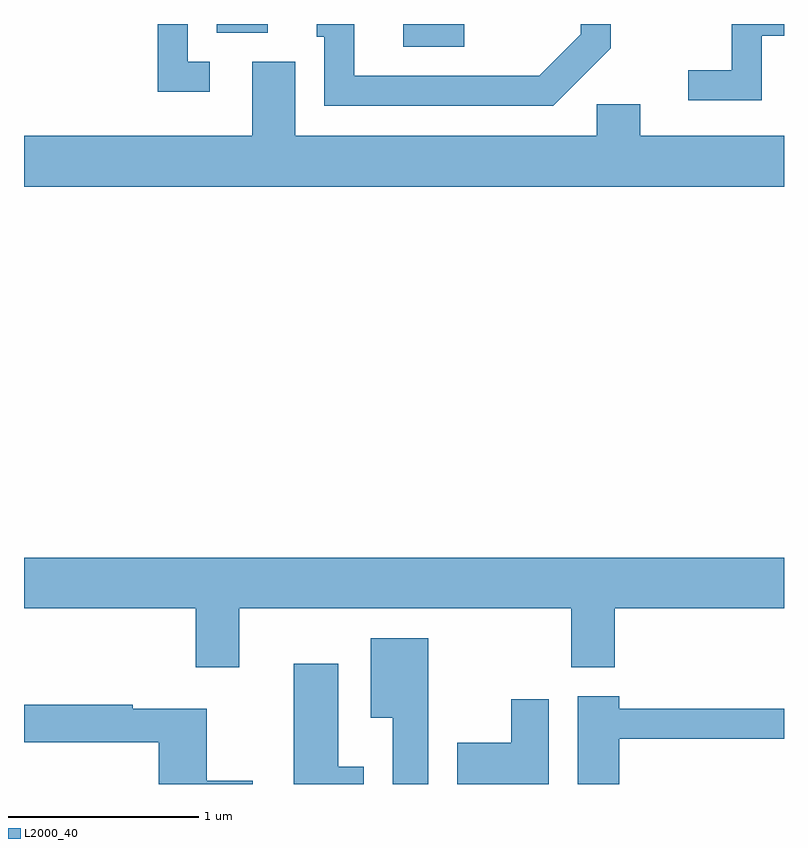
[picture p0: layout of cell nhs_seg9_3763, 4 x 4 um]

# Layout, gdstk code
import gdstk
lib = gdstk.Library(unit=1e-6, precision=1e-09)
def R(c, l, rs):  # rectangles x0, y0, x1, y1
    for r in rs: c.add(gdstk.rectangle(r[:2], r[2:], *l))
def P(c, l, *ps):  # polygons
    for p in ps: c.add(gdstk.Polygon(p, *l))
L2000_40 = (2000, 40)

nhs_seg9_3763 = lib.new_cell('nhs_seg9_3763')
R(nhs_seg9_3763, L2000_40, [(297.608,2010.311,297.929,2010.432), (296.626,2010.386,296.894,2010.432)])
P(nhs_seg9_3763, L2000_40, [(296.588,2010.234),(296.474,2010.234),(296.474,2010.432),(296.316,2010.432),(296.316,2010.076),(296.588,2010.076)],
  [(299.494,2010.371),(299.611,2010.371),(299.611,2010.432),(299.336,2010.432),(299.336,2010.189),(299.108,2010.189),(299.108,2010.031),(299.494,2010.031)],
  [(298.699,2010.304),(298.699,2010.432),(298.541,2010.432),(298.541,2010.377),(298.324,2010.159),(297.349,2010.159),(297.349,2010.432),(297.151,2010.432),(297.151,2010.366),(297.191,2010.366),(297.191,2010.001),(298.397,2010.001)],
  [(299.611,2009.844),(298.854,2009.844),(298.854,2010.009),(298.626,2010.009),(298.626,2009.844),(297.039,2009.844),(297.039,2010.234),(296.811,2010.234),(296.811,2009.844),(295.611,2009.844),(295.611,2009.576),(299.611,2009.576)],
  [(296.744,2007.356),(298.491,2007.356),(298.491,2007.046),(298.719,2007.046),(298.719,2007.356),(299.611,2007.356),(299.611,2007.624),(295.611,2007.624),(295.611,2007.356),(296.516,2007.356),(296.516,2007.046),(296.744,2007.046)],
  [(297.739,2007.199),(297.436,2007.199),(297.436,2006.781),(297.551,2006.781),(297.551,2006.432),(297.739,2006.432)],
  [(297.399,2006.524),(297.264,2006.524),(297.264,2007.064),(297.031,2007.064),(297.031,2006.432),(297.399,2006.432)],
  [(298.744,2006.671),(299.611,2006.671),(299.611,2006.829),(298.744,2006.829),(298.744,2006.894),(298.526,2006.894),(298.526,2006.432),(298.744,2006.432)],
  [(298.374,2006.879),(298.176,2006.879),(298.176,2006.649),(297.891,2006.649),(297.891,2006.432),(298.374,2006.432)],
  [(296.814,2006.449),(296.574,2006.449),(296.574,2006.829),(296.184,2006.829),(296.184,2006.849),(295.611,2006.849),(295.611,2006.651),(296.321,2006.651),(296.321,2006.432),(296.814,2006.432)])

lib.write_gds('nhs_seg9_3763.gds')
